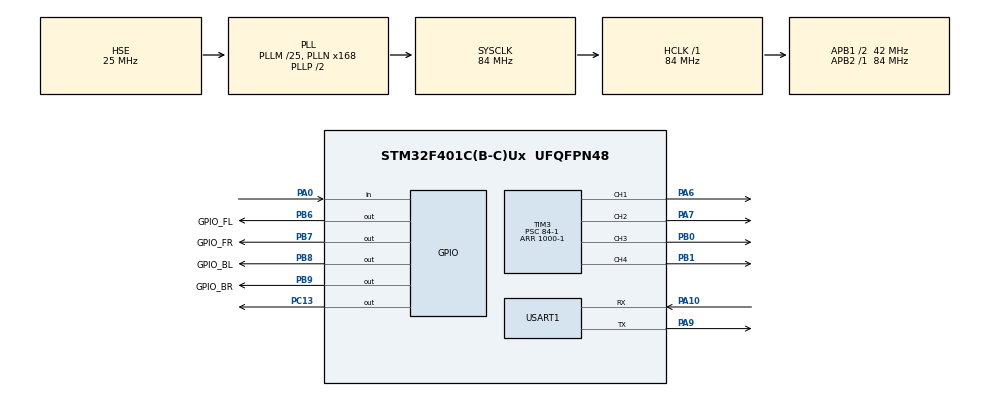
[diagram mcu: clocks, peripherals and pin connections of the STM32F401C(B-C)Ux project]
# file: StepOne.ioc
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Dma.Request0=USART1_RX
Dma.Request1=USART1_TX
Dma.USART1_RX.0.Direction=DMA_PERIPH_TO_MEMORY
Dma.USART1_RX.0.FIFOMode=DMA_FIFOMODE_DISABLE
Dma.USART1_RX.0.Instance=DMA2_Stream2
Dma.USART1_RX.0.MemDataAlignment=DMA_MDATAALIGN_BYTE
Dma.USART1_RX.0.MemInc=DMA_MINC_ENABLE
Dma.USART1_RX.0.Mode=DMA_NORMAL
Dma.USART1_RX.0.PeriphDataAlignment=DMA_PDATAALIGN_BYTE
Dma.USART1_RX.0.PeriphInc=DMA_PINC_DISABLE
Dma.USART1_RX.0.Priority=DMA_PRIORITY_LOW
Dma.USART1_TX.1.Direction=DMA_MEMORY_TO_PERIPH
Dma.USART1_TX.1.FIFOMode=DMA_FIFOMODE_DISABLE
Dma.USART1_TX.1.Instance=DMA2_Stream7
Dma.USART1_TX.1.MemDataAlignment=DMA_MDATAALIGN_BYTE
Dma.USART1_TX.1.MemInc=DMA_MINC_ENABLE
Dma.USART1_TX.1.Mode=DMA_NORMAL
Dma.USART1_TX.1.PeriphDataAlignment=DMA_PDATAALIGN_BYTE
Dma.USART1_TX.1.PeriphInc=DMA_PINC_DISABLE
Dma.USART1_TX.1.Priority=DMA_PRIORITY_LOW
Mcu.Family=STM32F4
Mcu.Name=STM32F401C(B-C)Ux
Mcu.Package=UFQFPN48
NVIC.DMA2_Stream2_IRQn=true\:0\:0\:false\:false\:true\:false\:true\:true
NVIC.DMA2_Stream7_IRQn=true\:0\:0\:false\:false\:true\:false\:true\:true
NVIC.PriorityGroup=NVIC_PRIORITYGROUP_4
NVIC.USART1_IRQn=true\:0\:0\:false\:false\:true\:true\:true\:true
PA0-WKUP.Signal=GPIO_Input
PA10.Mode=Asynchronous
PA10.Signal=USART1_RX
PA6.Signal=S_TIM3_CH1
PA7.Signal=S_TIM3_CH2
PA9.Mode=Asynchronous
PA9.Signal=USART1_TX
PB0.Signal=S_TIM3_CH3
PB1.Signal=S_TIM3_CH4
PB6.GPIO_Label=GPIO_FL
PB6.GPIO_Speed=GPIO_SPEED_FREQ_VERY_HIGH
PB6.Signal=GPIO_Output
PB7.GPIO_Label=GPIO_FR
PB7.GPIO_Speed=GPIO_SPEED_FREQ_VERY_HIGH
PB7.Signal=GPIO_Output
PB8.GPIO_Label=GPIO_BL
PB8.GPIO_Speed=GPIO_SPEED_FREQ_VERY_HIGH
PB8.Signal=GPIO_Output
PB9.GPIO_Label=GPIO_BR
PB9.GPIO_Speed=GPIO_SPEED_FREQ_VERY_HIGH
PB9.Signal=GPIO_Output
PC13-ANTI_TAMP.Signal=GPIO_Output
PH0\ -\ OSC_IN.Mode=HSE-External-Oscillator
PH0\ -\ OSC_IN.Signal=RCC_OSC_IN
PH1\ -\ OSC_OUT.Mode=HSE-External-Oscillator
PH1\ -\ OSC_OUT.Signal=RCC_OSC_OUT
ProjectManager.HeapSize=0x200
ProjectManager.StackSize=0x400
ProjectManager.TargetToolchain=Makefile
RCC.48MHZClocksFreq_Value=42000000
RCC.AHBFreq_Value=84000000
RCC.APB1CLKDivider=RCC_HCLK_DIV2
RCC.APB1Freq_Value=42000000
RCC.APB1TimFreq_Value=84000000
RCC.APB2Freq_Value=84000000
RCC.APB2TimFreq_Value=84000000
RCC.CortexFreq_Value=84000000
RCC.HCLKFreq_Value=84000000
RCC.HSE_VALUE=25000000
RCC.HSI_VALUE=16000000
RCC.LSE_VALUE=32768
RCC.PLLM=25
RCC.PLLN=168
RCC.PLLSourceVirtual=RCC_PLLSOURCE_HSE
RCC.SYSCLKFreq_VALUE=84000000
RCC.SYSCLKSource=RCC_SYSCLKSOURCE_PLLCLK
RCC.VCOOutputFreq_Value=168000000
SH.S_TIM3_CH1.0=TIM3_CH1,PWM Generation1 CH1
SH.S_TIM3_CH2.0=TIM3_CH2,PWM Generation2 CH2
SH.S_TIM3_CH3.0=TIM3_CH3,PWM Generation3 CH3
SH.S_TIM3_CH4.0=TIM3_CH4,PWM Generation4 CH4
TIM3.Channel-PWM\ Generation1\ CH1=TIM_CHANNEL_1
TIM3.Channel-PWM\ Generation2\ CH2=TIM_CHANNEL_2
TIM3.Channel-PWM\ Generation3\ CH3=TIM_CHANNEL_3
TIM3.Channel-PWM\ Generation4\ CH4=TIM_CHANNEL_4
TIM3.Period=1000-1
TIM3.Prescaler=84-1
TIM3.Pulse-PWM\ Generation1\ CH1=1000-1
TIM3.Pulse-PWM\ Generation2\ CH2=1000-1
TIM3.Pulse-PWM\ Generation3\ CH3=1000-1
TIM3.Pulse-PWM\ Generation4\ CH4=1000-1
USART1.VirtualMode=VM_ASYNC
VP_TIM3_VS_ClockSourceINT.Mode=Internal
board=custom

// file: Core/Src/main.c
/* USER CODE BEGIN Header */
/**
 ******************************************************************************
 * @file           : main.c
 * @brief          : Main program body
 ******************************************************************************
 * @attention
 *
 * Copyright (c) 2024 STMicroelectronics.
 * All rights reserved.
 *
 * This software is licensed under terms that can be found in the LICENSE file
 * in the root directory of this software component.
 * If no LICENSE file comes with this software, it is provided AS-IS.
 *
 ******************************************************************************
 */
/* USER CODE END Header */
#include "main.h"

/* USER CODE BEGIN Includes */

#include <string.h>
#include <command_line.h>
#include <motor.h>

/* USER CODE END Includes */

TIM_HandleTypeDef htim3;

UART_HandleTypeDef huart1;
DMA_HandleTypeDef hdma_usart1_rx;
DMA_HandleTypeDef hdma_usart1_tx;

void SystemClock_Config(void);
static void MX_GPIO_Init(void);
static void MX_DMA_Init(void);
static void MX_TIM3_Init(void);
static void MX_USART1_UART_Init(void);

/* USER CODE BEGIN 0 */

char *user_data = "The application is running\r\n"; // demo data for transmission-
char *command;
uint8_t data_buffer[100]; // data buffer
uint8_t recvd_data;       // receive buffer
uint32_t count = 0;       // count how many bytes are received
uint8_t command_flag = 0;

/* USER CODE END 0 */

int main(void)
{

  /* MCU Configuration--------------------------------------------------------*/

  /* Reset of all peripherals, Initializes the Flash interface and the Systick. */
  HAL_Init();

  /* Configure the system clock */
  SystemClock_Config();

  /* Initialize all configured peripherals */
  MX_GPIO_Init();
  MX_DMA_Init();
  MX_TIM3_Init();
  MX_USART1_UART_Init();
  /* USER CODE BEGIN 2 */

  HAL_GPIO_WritePin(GPIOC, GPIO_FL_Pin, GPIO_PIN_RESET);
  HAL_GPIO_WritePin(GPIOC, GPIO_FR_Pin, GPIO_PIN_RESET);
  HAL_GPIO_WritePin(GPIOC, GPIO_BL_Pin, GPIO_PIN_RESET);
  HAL_GPIO_WritePin(GPIOC, GPIO_BR_Pin, GPIO_PIN_RESET);

  HAL_UART_Transmit_IT(&huart1, (uint8_t *)user_data, strlen(user_data)); // Transmit data in interrupt mode
  HAL_UART_Receive_IT(&huart1, &recvd_data, 1);                           // receive data from data buffer interrupt mode

  /* USER CODE END 2 */

  /* Infinite loop */
  while (1)
  {

    /* USER CODE BEGIN 3 */

    if (command_flag)
    {
      Get_Command(data_buffer);
    }

    if (GPIO_PIN_SET == HAL_GPIO_ReadPin(GPIOA, GPIO_PIN_0))
    {

      HAL_GPIO_WritePin(GPIOC, GPIO_PIN_13, GPIO_PIN_SET);

      TIM3->CCR1 = 1000;
      TIM3->CCR2 = 1000;
      TIM3->CCR3 = 1000;
      TIM3->CCR4 = 1000;

      HAL_TIM_PWM_Stop(&htim3, TIM_CHANNEL_1);
      HAL_TIM_PWM_Stop(&htim3, TIM_CHANNEL_2);
      HAL_TIM_PWM_Stop(&htim3, TIM_CHANNEL_3);
      HAL_TIM_PWM_Stop(&htim3, TIM_CHANNEL_4);
    }
    else
    {

      HAL_GPIO_WritePin(GPIOC, GPIO_PIN_13, GPIO_PIN_RESET);

      HAL_Delay(2000);

      HAL_TIM_PWM_Start(&htim3, TIM_CHANNEL_1);
      HAL_TIM_PWM_Start(&htim3, TIM_CHANNEL_2);
      HAL_TIM_PWM_Start(&htim3, TIM_CHANNEL_3);
      HAL_TIM_PWM_Start(&htim3, TIM_CHANNEL_4);

      /*
      wheelControl(frontright, 8);
      HAL_Delay(1000);

      wheelControl(frontright, 0);
      HAL_Delay(1000);

      wheelControl(backright, 8);
      HAL_Delay(1000);

      wheelControl(backright, 0);
      HAL_Delay(1000);

      wheelControl(frontleft, 8);
      HAL_Delay(1000);

      wheelControl(frontleft, 0);
      HAL_Delay(1000);

      wheelControl(backleft, 8);
      HAL_Delay(1000);

      wheelControl(backleft, 0);
      HAL_Delay(1000);
*/

      // wheelControl(backleft, 20);
      //	  TIM3 -> CCR1 = 1000;
      //	  TIM4 -> CCR1 = 199;

      TIM1->CCR2 = 1000;
      TIM2->CCR2 = 0;

      //   TIM1 -> CCR3 = 1000;
      //    TIM2 -> CCR3 = 199;

      //    TIM1 -> CCR4 = 1000;
      //    TIM2 -> CCR4 = 199;

      HAL_Delay(4000);
    }
  }
  /* USER CODE END 3 */
}

void SystemClock_Config(void)
{
  RCC_OscInitTypeDef RCC_OscInitStruct = {0};
  RCC_ClkInitTypeDef RCC_ClkInitStruct = {0};

  /** Configure the main internal regulator output voltage
   */
  __HAL_RCC_PWR_CLK_ENABLE();
  __HAL_PWR_VOLTAGESCALING_CONFIG(PWR_REGULATOR_VOLTAGE_SCALE2);

  /** Initializes the RCC Oscillators according to the specified parameters
   * in the RCC_OscInitTypeDef structure.
   */
  RCC_OscInitStruct.OscillatorType = RCC_OSCILLATORTYPE_HSE;
  RCC_OscInitStruct.HSEState = RCC_HSE_ON;
  RCC_OscInitStruct.PLL.PLLState = RCC_PLL_ON;
  RCC_OscInitStruct.PLL.PLLSource = RCC_PLLSOURCE_HSE;
  RCC_OscInitStruct.PLL.PLLM = 25;
  RCC_OscInitStruct.PLL.PLLN = 168;
  RCC_OscInitStruct.PLL.PLLP = RCC_PLLP_DIV2;
  RCC_OscInitStruct.PLL.PLLQ = 4;
  if (HAL_RCC_OscConfig(&RCC_OscInitStruct) != HAL_OK)
  {
    Error_Handler();
  }

  /** Initializes the CPU, AHB and APB buses clocks
   */
  RCC_ClkInitStruct.ClockType = RCC_CLOCKTYPE_HCLK | RCC_CLOCKTYPE_SYSCLK | RCC_CLOCKTYPE_PCLK1 | RCC_CLOCKTYPE_PCLK2;
  RCC_ClkInitStruct.SYSCLKSource = RCC_SYSCLKSOURCE_PLLCLK;
  RCC_ClkInitStruct.AHBCLKDivider = RCC_SYSCLK_DIV1;
  RCC_ClkInitStruct.APB1CLKDivider = RCC_HCLK_DIV2;
  RCC_ClkInitStruct.APB2CLKDivider = RCC_HCLK_DIV1;

  if (HAL_RCC_ClockConfig(&RCC_ClkInitStruct, FLASH_LATENCY_2) != HAL_OK)
  {
    Error_Handler();
  }
}

static void MX_TIM3_Init(void)
{

  TIM_ClockConfigTypeDef sClockSourceConfig = {0};
  TIM_MasterConfigTypeDef sMasterConfig = {0};
  TIM_OC_InitTypeDef sConfigOC = {0};

  htim3.Instance = TIM3;
  htim3.Init.Prescaler = 84 - 1;
  htim3.Init.CounterMode = TIM_COUNTERMODE_UP;
  htim3.Init.Period = 1000 - 1;
  htim3.Init.ClockDivision = TIM_CLOCKDIVISION_DIV1;
  htim3.Init.AutoReloadPreload = TIM_AUTORELOAD_PRELOAD_DISABLE;
  if (HAL_TIM_Base_Init(&htim3) != HAL_OK)
  {
    Error_Handler();
  }
  sClockSourceConfig.ClockSource = TIM_CLOCKSOURCE_INTERNAL;
  if (HAL_TIM_ConfigClockSource(&htim3, &sClockSourceConfig) != HAL_OK)
  {
    Error_Handler();
  }
  if (HAL_TIM_PWM_Init(&htim3) != HAL_OK)
  {
    Error_Handler();
  }
  sMasterConfig.MasterOutputTrigger = TIM_TRGO_RESET;
  sMasterConfig.MasterSlaveMode = TIM_MASTERSLAVEMODE_DISABLE;
  if (HAL_TIMEx_MasterConfigSynchronization(&htim3, &sMasterConfig) != HAL_OK)
  {
    Error_Handler();
  }
  sConfigOC.OCMode = TIM_OCMODE_PWM1;
  sConfigOC.Pulse = 1000 - 1;
  sConfigOC.OCPolarity = TIM_OCPOLARITY_HIGH;
  sConfigOC.OCFastMode = TIM_OCFAST_DISABLE;
  if (HAL_TIM_PWM_ConfigChannel(&htim3, &sConfigOC, TIM_CHANNEL_1) != HAL_OK)
  {
    Error_Handler();
  }
  if (HAL_TIM_PWM_ConfigChannel(&htim3, &sConfigOC, TIM_CHANNEL_2) != HAL_OK)
  {
    Error_Handler();
  }
  if (HAL_TIM_PWM_ConfigChannel(&htim3, &sConfigOC, TIM_CHANNEL_3) != HAL_OK)
  {
    Error_Handler();
  }
  if (HAL_TIM_PWM_ConfigChannel(&htim3, &sConfigOC, TIM_CHANNEL_4) != HAL_OK)
  {
    Error_Handler();
  }
  HAL_TIM_MspPostInit(&htim3);
}

static void MX_USART1_UART_Init(void)
{

  huart1.Instance = USART1;
  huart1.Init.BaudRate = 115200;
  huart1.Init.WordLength = UART_WORDLENGTH_8B;
  huart1.Init.StopBits = UART_STOPBITS_1;
  huart1.Init.Parity = UART_PARITY_NONE;
  huart1.Init.Mode = UART_MODE_TX_RX;
  huart1.Init.HwFlowCtl = UART_HWCONTROL_NONE;
  huart1.Init.OverSampling = UART_OVERSAMPLING_16;
  if (HAL_UART_Init(&huart1) != HAL_OK)
  {
    Error_Handler();
  }
}

static void MX_DMA_Init(void)
{

  /* DMA controller clock enable */
  __HAL_RCC_DMA2_CLK_ENABLE();

  /* DMA interrupt init */
  /* DMA2_Stream2_IRQn interrupt configuration */
  HAL_NVIC_SetPriority(DMA2_Stream2_IRQn, 0, 0);
  HAL_NVIC_EnableIRQ(DMA2_Stream2_IRQn);
  /* DMA2_Stream7_IRQn interrupt configuration */
  HAL_NVIC_SetPriority(DMA2_Stream7_IRQn, 0, 0);
  HAL_NVIC_EnableIRQ(DMA2_Stream7_IRQn);
}

static void MX_GPIO_Init(void)
{
  GPIO_InitTypeDef GPIO_InitStruct = {0};

  /* GPIO Ports Clock Enable */
  __HAL_RCC_GPIOC_CLK_ENABLE();
  __HAL_RCC_GPIOH_CLK_ENABLE();
  __HAL_RCC_GPIOA_CLK_ENABLE();
  __HAL_RCC_GPIOB_CLK_ENABLE();

  /*Configure GPIO pin Output Level */
  HAL_GPIO_WritePin(GPIOC, GPIO_PIN_13, GPIO_PIN_RESET);

  /*Configure GPIO pin Output Level */
  HAL_GPIO_WritePin(GPIOB, GPIO_FL_Pin | GPIO_FR_Pin | GPIO_BL_Pin | GPIO_BR_Pin, GPIO_PIN_RESET);

  /*Configure GPIO pin : PC13 */
  GPIO_InitStruct.Pin = GPIO_PIN_13;
  GPIO_InitStruct.Mode = GPIO_MODE_OUTPUT_PP;
  GPIO_InitStruct.Pull = GPIO_NOPULL;
  GPIO_InitStruct.Speed = GPIO_SPEED_FREQ_LOW;
  HAL_GPIO_Init(GPIOC, &GPIO_InitStruct);

  /*Configure GPIO pin : PA0 */
  GPIO_InitStruct.Pin = GPIO_PIN_0;
  GPIO_InitStruct.Mode = GPIO_MODE_INPUT;
  GPIO_InitStruct.Pull = GPIO_NOPULL;
  HAL_GPIO_Init(GPIOA, &GPIO_InitStruct);

  /*Configure GPIO pins : GPIO_FL_Pin GPIO_FR_Pin GPIO_BL_Pin GPIO_BR_Pin */
  GPIO_InitStruct.Pin = GPIO_FL_Pin | GPIO_FR_Pin | GPIO_BL_Pin | GPIO_BR_Pin;
  GPIO_InitStruct.Mode = GPIO_MODE_OUTPUT_PP;
  GPIO_InitStruct.Pull = GPIO_NOPULL;
  GPIO_InitStruct.Speed = GPIO_SPEED_FREQ_VERY_HIGH;
  HAL_GPIO_Init(GPIOB, &GPIO_InitStruct);

}

/* USER CODE BEGIN 4 */

// UART 2 transmission complete callback
void HAL_UART_TxCpltCallback(UART_HandleTypeDef *huart)
{
  memset(user_data, 0, strlen(user_data)); // empty the transmission data buffer
}

// UART 2 receive complete callback
void HAL_UART_RxCpltCallback(UART_HandleTypeDef *huart)
{
  char *mv_to_next_line = "\r\n";

  if (recvd_data == '\r') // when enter is pressed go to this condition
  {

    command_flag = 1;

    HAL_UART_Transmit(&huart1, (uint8_t *)mv_to_next_line, strlen(mv_to_next_line), 100);
    memset(mv_to_next_line, 0, strlen(mv_to_next_line));
  }
  else
  {
    data_buffer[count++] = recvd_data; // every time when interrput is happen, received 1 byte of data
    HAL_UART_Transmit(&huart1, &recvd_data, 1, 100);
  }
  HAL_UART_Receive_IT(&huart1, &recvd_data, 1); // start next data receive interrupt
}

/* USER CODE END 4 */

void Error_Handler(void)
{
  __disable_irq();
  while (1)
  {
  }
}
